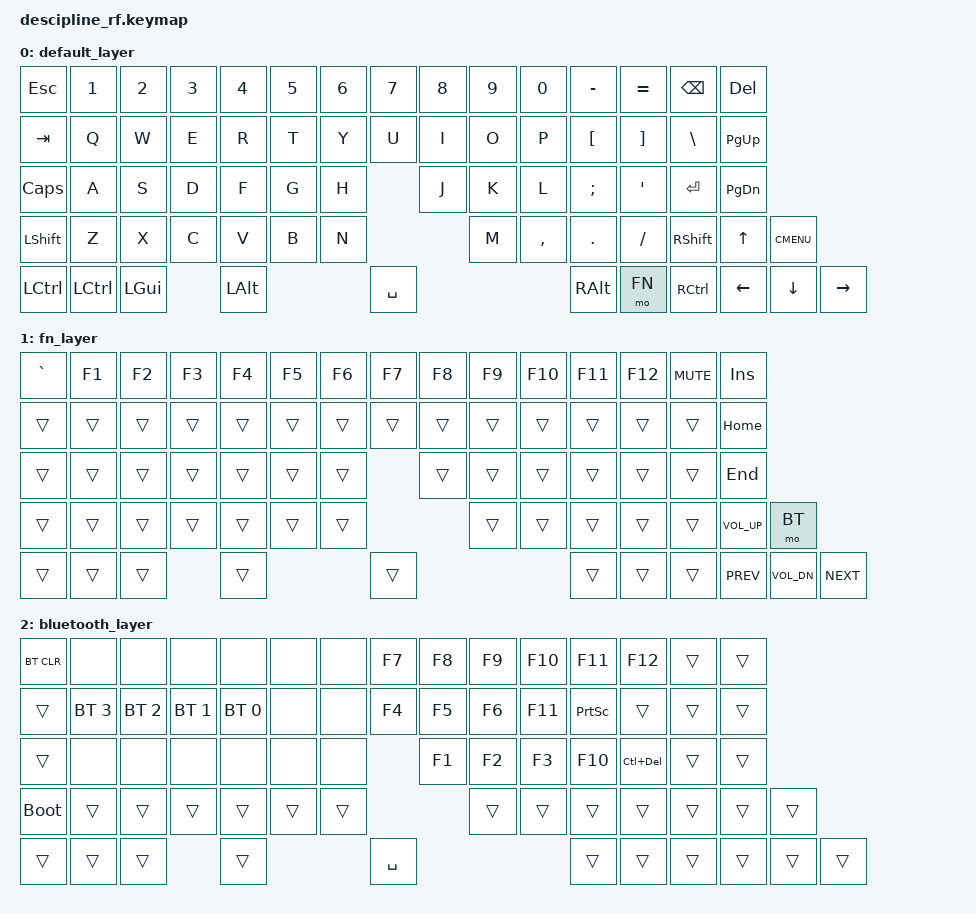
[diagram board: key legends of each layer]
/*
 * Copyright (c) 2021 The ZMK Contributors
 *
 * SPDX-License-Identifier: MIT
 */

#include <behaviors.dtsi>
#include <dt-bindings/zmk/keys.h>
#include <dt-bindings/zmk/bt.h>
#include <dt-bindings/zmk/outputs.h>

#define DEFAULT 0
#define FN 1
#define BT 2


/ {
    behaviors {
        ht_tp: homerow_mods {
            compatible = "zmk,behavior-hold-tap";
            label = "HOMEROW_MODS";
            #binding-cells = <2>;
            tapping-term-ms = <150>;
            quick-tap-ms = <0>;
            flavor = "tap-preferred";
            bindings = <&kp>, <&kp>;
        };
        skq: sticky_key_quick_release {
            compatible = "zmk,behavior-sticky-key";
            #binding-cells = <1>;
            bindings = <&kp>;
            release-after-ms = <1000>;
            quick-release;
            ignore-modifiers;
        };
    };
    keymap {
        compatible = "zmk,keymap";
        default_layer {
            // ------------------------------------------------------------------------------------------
            // | ESC |  1  |  2  |  3  |  4  |  5  |  6  |  7  |  8  |  9  |  0  |  -  |  =  | BKSP | DEL  |
            // | TAB  |  Q  |  W  |  E  |  R  |  T  |  Y  |  U  |  I  |  O  |  P  |  [  |  ]  |  \  | PGUP |
            // | CAPS  |  A  |  S  |  D  |  F  |  G  |  H  |  J  |  K  |  L  |  ;  |  '  | ENTER |    | PGDN |
            // | LSHIFT |     |  Z  |  X  |  C  |  V  |  B  |  N  |  M  |  ,  |  .  |  /  | RSHIFT| UP | MOD |
            // | LCTRL | LCTRL | LGUI | LALT |     |     | SPACE |     |     | RALT | FN | RCTRL | LEFT | DOWN | RIGHT |

            bindings = <
                &kp ESC    &kp N1 &kp N2 &kp N3 &kp N4 &kp N5 &kp N6 &kp N7 &kp N8 &kp N9 &kp N0 &kp MINUS &kp EQUAL &kp BSPC &kp DEL
                &kp TAB    &kp Q  &kp W  &kp E  &kp R  &kp T  &kp Y  &kp U  &kp I  &kp O  &kp P  &kp LBKT  &kp RBKT  &kp BSLH &kp PG_UP
                &kp CAPS   &kp A  &kp S  &kp D  &kp F  &kp G  &kp H  &kp J  &kp K  &kp L  &kp SEMI &kp SQT  &kp ENTER          &kp PG_DN
                &kp LSHFT          &kp Z  &kp X  &kp C  &kp V  &kp B  &kp N  &kp M  &kp COMMA &kp DOT &kp FSLH &kp RSHFT &kp UP &kp K_CMENU
                &kp LCTRL  &kp LCTRL &kp LGUI &kp LALT               &kp SPACE                &kp RALT &mo FN &kp RCTRL &kp LEFT &kp DOWN &kp RIGHT
            >;
        };
       fn_layer {
            // Function layer - you may want to customize this based on your needs
            bindings = <
                &kp GRAVE  &kp F1 &kp F2 &kp F3 &kp F4 &kp F5 &kp F6 &kp F7 &kp F8 &kp F9 &kp F10 &kp F11 &kp F12 &kp C_MUTE &kp INS
                &trans     &trans &trans &trans &trans &trans &trans &trans &trans &trans &trans  &trans  &trans  &trans &kp HOME
                &trans     &trans &trans &trans &trans &trans &trans &trans &trans &trans &trans  &trans  &trans          &kp END
                &trans            &trans &trans &trans &trans &trans &trans &trans &trans &trans  &trans  &trans  &kp C_VOL_UP &mo BT
                &trans     &trans &trans &trans                &trans                &trans &trans &trans  &kp C_PREV &kp C_VOL_DN &kp C_NEXT
            >;
        };
        bluetooth_layer {
            // Bluetooth layer for device switching and reset
            bindings = <
                &bt BT_CLR &none &none &none &none &none &none &kp F7 &kp F8 &kp F9 &kp F10 &kp F11 &kp F12 &trans &trans
                &trans &bt BT_SEL 3 &bt BT_SEL 2 &bt BT_SEL 1 &bt BT_SEL 0 &none &none &kp F4 &kp F5 &kp F6 &kp F11 &kp PSCRN &trans &trans &trans
                &trans &none &none &none &none &none &none &kp F1 &kp F2 &kp F3 &kp F10 &kp LC(DEL) &trans &trans
                &bootloader        &trans &trans &trans &trans &trans &trans &trans &trans &trans &trans &trans &trans &trans
                &trans &trans &trans &trans                &kp SPACE                &trans &trans &trans &trans &trans &trans
            >;
        };
    };
};
